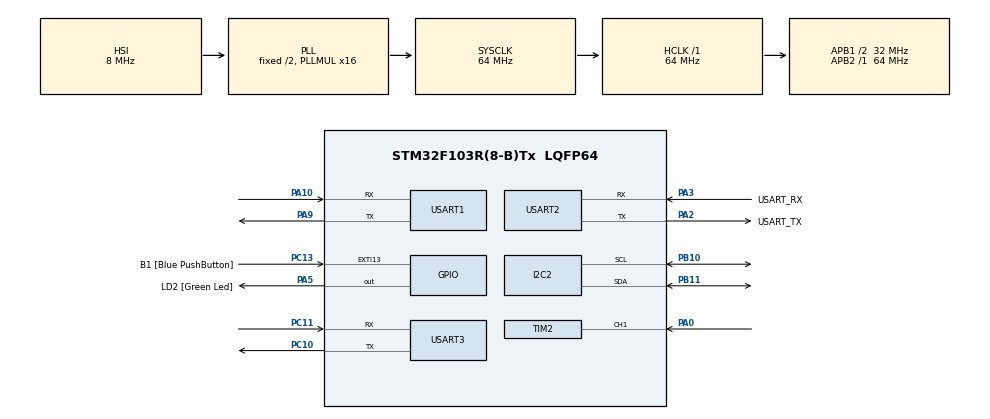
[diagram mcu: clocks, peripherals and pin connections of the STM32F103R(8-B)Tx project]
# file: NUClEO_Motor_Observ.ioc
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Mcu.Family=STM32F1
Mcu.Name=STM32F103R(8-B)Tx
Mcu.Package=LQFP64
NVIC.EXTI15_10_IRQn=true\:0\:0\:false\:false\:true\:true\:true
NVIC.PriorityGroup=NVIC_PRIORITYGROUP_4
NVIC.TIM2_IRQn=true\:0\:0\:false\:false\:true\:true\:true
NVIC.USART1_IRQn=true\:0\:0\:false\:false\:true\:true\:true
NVIC.USART3_IRQn=true\:0\:0\:false\:false\:true\:true\:true
PA0-WKUP.Signal=S_TIM2_CH1_ETR
PA10.Mode=Asynchronous
PA10.Signal=USART1_RX
PA13.GPIO_Label=TMS
PA13.Mode=Serial_Wire
PA13.Signal=SYS_JTMS-SWDIO
PA14.GPIO_Label=TCK
PA14.Mode=Serial_Wire
PA14.Signal=SYS_JTCK-SWCLK
PA2.GPIO_Label=USART_TX
PA2.GPIO_Mode=GPIO_MODE_AF_PP
PA2.GPIO_PuPd=GPIO_NOPULL
PA2.GPIO_Speed=GPIO_SPEED_FREQ_LOW
PA2.Mode=Asynchronous
PA2.Signal=USART2_TX
PA3.GPIO_Label=USART_RX
PA3.GPIO_Mode=GPIO_MODE_AF_PP
PA3.GPIO_PuPd=GPIO_NOPULL
PA3.GPIO_Speed=GPIO_SPEED_FREQ_LOW
PA3.Mode=Asynchronous
PA3.Signal=USART2_RX
PA5.GPIO_Label=LD2 [Green Led]
PA5.GPIO_ModeDefaultOutputPP=GPIO_MODE_OUTPUT_PP
PA5.GPIO_PuPd=GPIO_NOPULL
PA5.GPIO_Speed=GPIO_SPEED_FREQ_LOW
PA5.Signal=GPIO_Output
PA9.Mode=Asynchronous
PA9.Signal=USART1_TX
PB10.Mode=I2C
PB10.Signal=I2C2_SCL
PB11.Mode=I2C
PB11.Signal=I2C2_SDA
PB3.GPIO_Label=SWO
PB3.Signal=SYS_JTDO-TRACESWO
PC10.Mode=Asynchronous
PC10.Signal=USART3_TX
PC11.Mode=Asynchronous
PC11.Signal=USART3_RX
PC13-TAMPER-RTC.GPIO_Label=B1 [Blue PushButton]
PC13-TAMPER-RTC.GPIO_PuPd=GPIO_NOPULL
PC13-TAMPER-RTC.Signal=GPXTI13
PC14-OSC32_IN.Mode=LSE-External-Oscillator
PC14-OSC32_IN.Signal=RCC_OSC32_IN
PC15-OSC32_OUT.Mode=LSE-External-Oscillator
PC15-OSC32_OUT.Signal=RCC_OSC32_OUT
PD0-OSC_IN.Signal=RCC_OSC_IN
PD1-OSC_OUT.Signal=RCC_OSC_OUT
ProjectManager.HeapSize=0x200
ProjectManager.StackSize=0x400
ProjectManager.TargetToolchain=STM32CubeIDE
RCC.AHBFreq_Value=64000000
RCC.APB1CLKDivider=RCC_HCLK_DIV2
RCC.APB1Freq_Value=32000000
RCC.APB1TimFreq_Value=64000000
RCC.APB2Freq_Value=64000000
RCC.APB2TimFreq_Value=64000000
RCC.HCLKFreq_Value=64000000
RCC.PLLMUL=RCC_PLL_MUL16
RCC.RTCClockSelection=RCC_RTCCLKSOURCE_LSE
RCC.SYSCLKFreq_VALUE=64000000
RCC.SYSCLKSource=RCC_SYSCLKSOURCE_PLLCLK
RCC.USBFreq_Value=64000000
SH.S_TIM2_CH1_ETR.0=TIM2_CH1,Input_Capture1_from_TI1
TIM2.Channel-Input_Capture1_from_TI1=TIM_CHANNEL_1
TIM2.ICFilter_CH1=3
TIM2.Period=\ 0xffff
TIM2.Prescaler=64-1
TIM2.TIM_MasterOutputTrigger=TIM_TRGO_UPDATE
USART1.VirtualMode=VM_ASYNC
USART2.VirtualMode=VM_ASYNC
USART3.VirtualMode=VM_ASYNC
VP_TIM2_VS_ClockSourceINT.Mode=Internal
board=NUCLEO-F103RB

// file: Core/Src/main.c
/* USER CODE BEGIN Header */
/**
  ******************************************************************************
  * @file           : main.c
  * @brief          : Main program body
  ******************************************************************************
  * @attention
  *
  * <h2><center>&copy; Copyright (c) 2020 STMicroelectronics.
  * All rights reserved.</center></h2>
  *
  * This software component is licensed by ST under BSD 3-Clause license,
  * the "License"; You may not use this file except in compliance with the
  * License. You may obtain a copy of the License at:
  *                        opensource.org/licenses/BSD-3-Clause
  *
  ******************************************************************************
  */
/* USER CODE END Header */

#include "main.h"
#include "i2c.h"
#include "tim.h"
#include "usart.h"
#include "gpio.h"

/* USER CODE BEGIN Includes */
#include "oled.h"
#include "bmp.h"
#include"wifi.h"
#include "inputcap.h"
/* USER CODE END Includes */

void SystemClock_Config(void);
/* USER CODE BEGIN PFP */
void System_Init(void);
void OledDisplay(void);
/* USER CODE END PFP */

int main(void)
{

  /* MCU Configuration--------------------------------------------------------*/

  /* Reset of all peripherals, Initializes the Flash interface and the Systick. */
  HAL_Init();

  /* Configure the system clock */
  SystemClock_Config();

  /* Initialize all configured peripherals */
  MX_GPIO_Init();
  MX_USART2_UART_Init();
  MX_I2C2_Init();
  MX_USART1_UART_Init();
  MX_TIM2_Init();
  MX_USART3_UART_Init();
  /* USER CODE BEGIN 2 */
  System_Init();
  /* USER CODE END 2 */

  /* Infinite loop */
  /* USER CODE BEGIN WHILE */
  while (1)
  {

	 OledDisplay();
	 Tcp_DataAccept();

    /* USER CODE END WHILE */

  }
}

void SystemClock_Config(void)
{
  RCC_OscInitTypeDef RCC_OscInitStruct = {0};
  RCC_ClkInitTypeDef RCC_ClkInitStruct = {0};

  /** Initializes the CPU, AHB and APB busses clocks
  */
  RCC_OscInitStruct.OscillatorType = RCC_OSCILLATORTYPE_HSI;
  RCC_OscInitStruct.HSIState = RCC_HSI_ON;
  RCC_OscInitStruct.HSICalibrationValue = RCC_HSICALIBRATION_DEFAULT;
  RCC_OscInitStruct.PLL.PLLState = RCC_PLL_ON;
  RCC_OscInitStruct.PLL.PLLSource = RCC_PLLSOURCE_HSI_DIV2;
  RCC_OscInitStruct.PLL.PLLMUL = RCC_PLL_MUL16;
  if (HAL_RCC_OscConfig(&RCC_OscInitStruct) != HAL_OK)
  {
    Error_Handler();
  }
  /** Initializes the CPU, AHB and APB busses clocks
  */
  RCC_ClkInitStruct.ClockType = RCC_CLOCKTYPE_HCLK|RCC_CLOCKTYPE_SYSCLK
                              |RCC_CLOCKTYPE_PCLK1|RCC_CLOCKTYPE_PCLK2;
  RCC_ClkInitStruct.SYSCLKSource = RCC_SYSCLKSOURCE_PLLCLK;
  RCC_ClkInitStruct.AHBCLKDivider = RCC_SYSCLK_DIV1;
  RCC_ClkInitStruct.APB1CLKDivider = RCC_HCLK_DIV2;
  RCC_ClkInitStruct.APB2CLKDivider = RCC_HCLK_DIV1;

  if (HAL_RCC_ClockConfig(&RCC_ClkInitStruct, FLASH_LATENCY_2) != HAL_OK)
  {
    Error_Handler();
  }
}

/* USER CODE BEGIN 4 */
void System_Init(void) {

	/*Oled init*/
	OLED_Init();
	OLED_DrawBMP(0, 0, 128, 8, BMP2);
	OLED_ShowCHinese(10, 2, 21);
	OLED_ShowCHinese(30, 2, 22);
	OLED_ShowChar(50, 2, ':', 16);
	OLED_ShowCHinese(10, 4, 23);
	OLED_ShowCHinese(30, 4, 24);
	OLED_ShowChar(50, 4, ':', 16);

	/*Wifi init*/
	Server_Init();
	HAL_Delay(500);
	HAL_UART_Receive_IT(&huart1,&Uart1_Rx_Char,1);

	/*input cap Init*/
	HAL_TIM_IC_Start_IT(&htim2, TIM_CHANNEL_1);
	__HAL_TIM_ENABLE_IT(&htim2,TIM_IT_UPDATE);

	/*distance init*/
	HAL_UART_Receive_IT(&huart3,&Uart3_Rx_Char,1);
}

void OledDisplay(void) {
	OLED_ShowFlort(60, 2, (float)2000 / 30 / Cycle, 16);
	OLED_ShowFlort(60, 4, (float)(Distance) / 10, 16);
}

void Tcp_DataDeal(void) {

	char Str[50] = {0};
	if(Strcmp(Wifi_Command_Buffer, (uint8_t *)"Cycle\r")) {
		sprintf(Str, "Cycle:%d", (int)Cycle);
		Server_SentTo_Client((uint8_t *)Str);
	} else if(Strcmp(Wifi_Command_Buffer, (uint8_t *)"Distance\r")) {
		sprintf(Str, "Distance: %f cm", (float)(Distance - 40) / 10);
		Server_SentTo_Client((uint8_t *)Str);
	} else if(Strcmp(Wifi_Command_Buffer, (uint8_t *)"Speed\r")) {
		sprintf(Str, "Speed: %f r/s", (float)2000 / Cycle);
		Server_SentTo_Client((uint8_t *)Str);
	} else {
		sprintf(Str, "Speed: %f r/s\r\nDistance: %f cm", (float)2000 / 30 / Cycle, (float)(Distance - 40) / 10);
		Server_SentTo_Client((uint8_t *)Str);
	}

}
/* USER CODE END 4 */

void Error_Handler(void)
{
}

/************************ (C) COPYRIGHT STMicroelectronics *****END OF FILE****/
